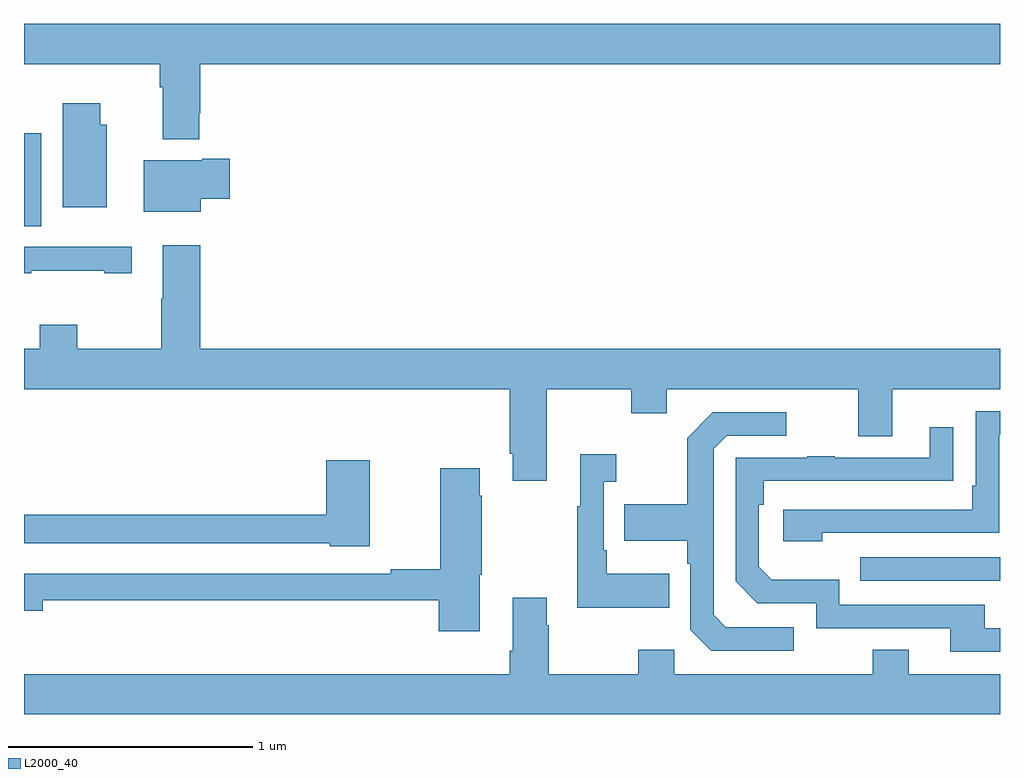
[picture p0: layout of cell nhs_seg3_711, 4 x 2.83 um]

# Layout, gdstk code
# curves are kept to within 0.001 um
import gdstk
lib = gdstk.Library(unit=1e-6, precision=1e-09)
def R(c, l, rs):  # rectangles x0, y0, x1, y1
    for r in rs: c.add(gdstk.rectangle(r[:2], r[2:], *l))
def P(c, l, *ps):  # polygons
    for p in ps: c.add(gdstk.Polygon(p, *l))
L2000_40 = (2000, 40)

nhs_seg3_711 = lib.new_cell('nhs_seg3_711')
R(nhs_seg3_711, L2000_40, [(150.427,681.483,151,681.579), (147,682.936,147.07,683.317)])
P(nhs_seg3_711, L2000_40, [(147.718,683.398),(147.722,683.398),(147.722,683.6),(151,683.6),(151,683.764),(147,683.764),(147,683.6),(147.557,683.6),(147.557,683.504),(147.569,683.504),(147.569,683.291),(147.718,683.291)],
  [(147.34,683.352),(147.313,683.352),(147.313,683.44),(147.158,683.44),(147.158,683.012),(147.34,683.012)],
  [(147.724,683.048),(147.844,683.048),(147.844,683.211),(147.731,683.211),(147.731,683.206),(147.491,683.206),(147.491,682.994),(147.724,682.994)],
  [(149.143,682.268),(149.488,682.268),(149.488,682.169),(149.635,682.169),(149.635,682.268),(150.419,682.268),(150.419,682.074),(150.559,682.074),(150.559,682.268),(151,682.268),(151,682.432),(147.722,682.432),(147.722,682.858),(147.569,682.858),(147.569,682.637),(147.562,682.637),(147.562,682.432),(147.219,682.432),(147.219,682.531),(147.064,682.531),(147.064,682.432),(147,682.432),(147,682.268),(148.991,682.268),(148.991,682.003),(149.003,682.003),(149.003,681.891),(149.143,681.891)],
  [(147.029,682.753),(147.329,682.753),(147.329,682.743),(147.442,682.743),(147.442,682.852),(147.186,682.852),(147.186,682.851),(147,682.851),(147,682.743),(147.029,682.743)],
  [(150.272,681.678),(150.996,681.678),(150.996,682.08),(151,682.08),(151,682.176),(150.9,682.176),(150.9,681.871),(150.887,681.871),(150.887,681.774),(150.111,681.774),(150.111,681.644),(150.272,681.644)],
  [(150.154,681.291),(149.877,681.291),(149.826,681.342),(149.826,682.023),(149.88,682.077),(150.124,682.077),(150.124,682.173),(149.823,682.173),(149.718,682.067),(149.718,681.795),(149.461,681.795),(149.461,681.647),(149.718,681.647),(149.718,681.551),(149.73,681.551),(149.73,681.282),(149.817,681.195),(150.154,681.195)],
  [(151,681.288),(150.937,681.288),(150.937,681.384),(150.342,681.384),(150.342,681.487),(150.065,681.487),(150.012,681.54),(150.012,681.794),(150.032,681.794),(150.032,681.891),(150.809,681.892),(150.809,682.111),(150.713,682.111),(150.713,681.987),(150.323,681.987),(150.323,681.992),(150.211,681.992),(150.211,681.987),(149.916,681.987),(149.916,681.48),(150.006,681.39),(150.246,681.39),(150.246,681.288),(150.797,681.288),(150.797,681.192),(151,681.192)],
  [(149.645,681.511),(149.389,681.511),(149.389,681.607),(149.376,681.607),(149.376,681.887),(149.428,681.887),(149.428,682),(149.279,682),(149.279,681.787),(149.268,681.787),(149.268,681.371),(149.645,681.371)],
  [(148.416,681.976),(148.238,681.976),(148.238,681.752),(147,681.752),(147,681.636),(148.254,681.636),(148.254,681.623),(148.416,681.623)],
  [(148.867,681.507),(148.875,681.507),(148.875,681.83),(148.867,681.83),(148.867,681.943),(148.705,681.943),(148.705,681.53),(148.504,681.53),(148.504,681.51),(147,681.51),(147,681.359),(147.076,681.359),(147.076,681.402),(148.7,681.402),(148.7,681.276),(148.867,681.276)],
  [(151,681.1),(150.625,681.1),(150.625,681.199),(150.478,681.199),(150.478,681.1),(149.664,681.1),(149.664,681.199),(149.518,681.199),(149.518,681.1),(149.151,681.1),(149.151,681.299),(149.143,681.299),(149.143,681.412),(149.003,681.412),(149.003,681.196),(148.991,681.196),(148.991,681.1),(147,681.1),(147,680.936),(151,680.936)])

lib.write_gds('nhs_seg3_711.gds')
